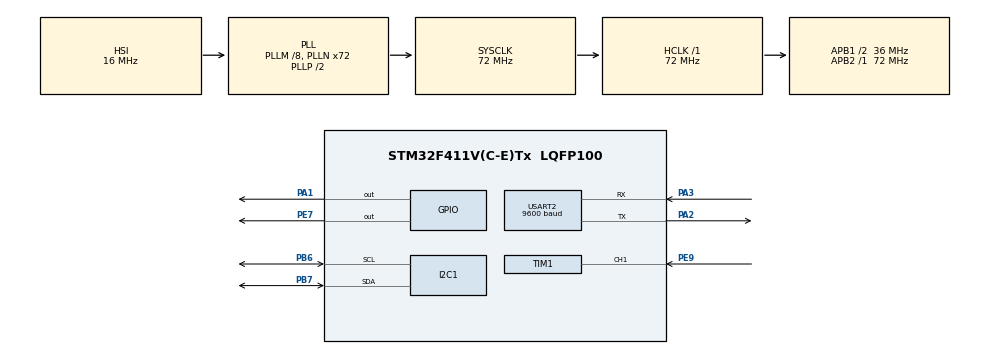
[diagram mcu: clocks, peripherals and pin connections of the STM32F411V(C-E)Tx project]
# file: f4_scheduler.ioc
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Mcu.Family=STM32F4
Mcu.Name=STM32F411V(C-E)Tx
Mcu.Package=LQFP100
NVIC.PriorityGroup=NVIC_PRIORITYGROUP_4
NVIC.TIM1_CC_IRQn=true\:0\:0\:false\:false\:true\:true\:true
NVIC.TIM1_UP_TIM10_IRQn=true\:0\:0\:false\:false\:true\:true\:true
NVIC.TIM2_IRQn=true\:0\:0\:false\:false\:true\:false\:true
NVIC.TimeBase=TIM2_IRQn
NVIC.TimeBaseIP=TIM2
NVIC.USART2_IRQn=true\:0\:0\:false\:false\:true\:true\:true
PA1.PinState=GPIO_PIN_SET
PA1.Signal=GPIO_Output
PA13.Mode=Serial_Wire
PA13.Signal=SYS_JTMS-SWDIO
PA14.Mode=Serial_Wire
PA14.Signal=SYS_JTCK-SWCLK
PA2.Mode=Asynchronous
PA2.Signal=USART2_TX
PA3.Mode=Asynchronous
PA3.Signal=USART2_RX
PB6.Mode=I2C
PB6.Signal=I2C1_SCL
PB7.Mode=I2C
PB7.Signal=I2C1_SDA
PE7.Signal=GPIO_Output
PE9.Signal=S_TIM1_CH1
ProjectManager.HeapSize=0x200
ProjectManager.StackSize=0x400
ProjectManager.TargetToolchain=MDK-ARM V5
RCC.48MHZClocksFreq_Value=36000000
RCC.AHBFreq_Value=72000000
RCC.APB1CLKDivider=RCC_HCLK_DIV2
RCC.APB1Freq_Value=36000000
RCC.APB1TimFreq_Value=72000000
RCC.APB2Freq_Value=72000000
RCC.APB2TimFreq_Value=72000000
RCC.CortexFreq_Value=72000000
RCC.HCLKFreq_Value=72000000
RCC.HSE_VALUE=25000000
RCC.HSI_VALUE=16000000
RCC.LSE_VALUE=32768
RCC.PLLM=8
RCC.PLLN=72
RCC.SYSCLKFreq_VALUE=72000000
RCC.SYSCLKSource=RCC_SYSCLKSOURCE_PLLCLK
RCC.VCOOutputFreq_Value=144000000
SH.S_TIM1_CH1.0=TIM1_CH1,Input_Capture1_from_TI1
TIM1.Channel-Input_Capture1_from_TI1=TIM_CHANNEL_1
TIM1.Period=0xffff-1
TIM1.Prescaler=72-1
USART2.BaudRate=9600
USART2.VirtualMode=VM_ASYNC
VP_SYS_VS_tim2.Mode=TIM2
board=custom

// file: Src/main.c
/* USER CODE BEGIN Header */
/**
  ******************************************************************************
  * @file           : main.c
  * @brief          : Main program body
  ******************************************************************************
  * @attention
  *
  * <h2><center>&copy; Copyright (c) 2022 STMicroelectronics.
  * All rights reserved.</center></h2>
  *
  * This software component is licensed by ST under Ultimate Liberty license
  * SLA0044, the "License"; You may not use this file except in compliance with
  * the License. You may obtain a copy of the License at:
  *                             www.st.com/SLA0044
  *
  ******************************************************************************
  */
/* USER CODE END Header */

#include "main.h"

/* USER CODE BEGIN Includes */
#include "i2c-lcd.h"
#include "stdio.h"
#include <stdarg.h>
#include <string.h>
/* USER CODE END Includes */

I2C_HandleTypeDef hi2c1;

TIM_HandleTypeDef htim1;

UART_HandleTypeDef huart2;

void SystemClock_Config(void);
static void MX_GPIO_Init(void);
static void MX_I2C1_Init(void);
static void MX_TIM1_Init(void);
static void MX_USART2_UART_Init(void);
/* USER CODE BEGIN PFP */
uint8_t data_uart; // bien de luu data nhan duoc
uint8_t flag_uart=0; //khi co data den thi set len 1
/* USER CODE END PFP */

/* USER CODE BEGIN 0 */

// callback UART receive 1 byte function
//void HAL_UART_TxCpltCallback(UART_HandleTypeDef *huart)
//{
//	if(huart->Instance == huart2.Instance) // check xem co dung uart2 hay khong
//	{
//		flag_uart = 1;
//		HAL_UART_Receive_IT(&huart2,&data_uart,1); // cho phep nhan data nhieu lan
//	}
//}

// ham printf
//_ARMABI int fputc(int c, FILE * stream)
//	{
//		HAL_UART_Transmit(&huart2, (uint8_t *)&c, 1, 100);
//		return 0;
//	}

//int __io_putchar(int ch)
//{
//	HAL_UART_Transmit(&huart2, (uint8_t *)&ch, 1, 0x10);
//	return ch;
//}

#ifdef __GNUC__
	#define PUTCHAR_PROTOTYPE int __io_putchar(int ch)
#else
	#define PUTCHAR_PROTOTYPE int fputc(int ch, FILE *f)
#endif /* __GNUC__ */
PUTCHAR_PROTOTYPE
	{
		HAL_UART_Transmit(&huart2, (uint8_t *)&ch, 1, HAL_MAX_DELAY);
		return ch;
	}

//void vprint(const char *fmt, va_list argp)
//{
//    char string[200];
//    if(0 < vsprintf(string,fmt,argp)) // build string
//    {
//        HAL_UART_Transmit(&huart2, (uint8_t*)string, strlen(string), 0xffffff); // send message via UART
//    }
//}

//void my_printf(const char *fmt, ...) // custom printf() function
//{
//    va_list argp;
//    va_start(argp, fmt);
//    vprint(fmt, argp);
//    va_end(argp);
//}

// delay function in microseconds
void delay (uint16_t time)
{
	__HAL_TIM_SET_COUNTER(&htim1, 0);
	while (__HAL_TIM_GET_COUNTER (&htim1) < time);
}

//function to set the pins as outputs
void Set_Pin_Output(GPIO_TypeDef *GPIOx, uint16_t GPIO_Pin)
{
	GPIO_InitTypeDef GPIO_InitStruct = {0};
	GPIO_InitStruct.Pin = GPIO_Pin;
	GPIO_InitStruct.Mode = GPIO_MODE_OUTPUT_PP;
	GPIO_InitStruct.Speed = GPIO_SPEED_FREQ_LOW;
	HAL_GPIO_Init(GPIOx, &GPIO_InitStruct);
}

//function to set pin as input
void Set_Pin_Input(GPIO_TypeDef *GPIOx, uint16_t GPIO_Pin)
{
	GPIO_InitTypeDef GPIO_InitStruct = {0};
	GPIO_InitStruct.Pin = GPIO_Pin;
	GPIO_InitStruct.Mode = GPIO_MODE_INPUT;
	GPIO_InitStruct.Pull = GPIO_NOPULL; //can be changed to PULLUP if no data is received from the pin
	HAL_GPIO_Init(GPIOx, &GPIO_InitStruct);
}

/*****HCSR04 FUNCTIONS*****/
//HCSR04 variables declarations
uint32_t IC_Val1 = 0;
uint32_t IC_Val2 = 0;
uint32_t Difference = 0;
uint8_t Is_First_Captured = 0;  // is the first value captured ?
uint8_t Distance  = 0;
float distance=0;
//define the pin and the port for sensor
#define TRIG_PIN GPIO_PIN_7
#define TRIG_PORT GPIOE

// Let's write the callback function
void HAL_TIM_IC_CaptureCallback(TIM_HandleTypeDef *htim)
{
	if (htim->Channel == HAL_TIM_ACTIVE_CHANNEL_1)  // if the interrupt source is channel1
	{
		if (Is_First_Captured==0) // if the first value is not captured
		{
			IC_Val1 = HAL_TIM_ReadCapturedValue(htim, TIM_CHANNEL_1); // read the first value
			Is_First_Captured = 1;  // set the first captured as true
			// Now change the polarity to falling edge
			__HAL_TIM_SET_CAPTUREPOLARITY(htim, TIM_CHANNEL_1, TIM_INPUTCHANNELPOLARITY_FALLING);
		}

		else if (Is_First_Captured==1)   // if the first is already captured
		{
			IC_Val2 = HAL_TIM_ReadCapturedValue(htim, TIM_CHANNEL_1);  // read second value
			__HAL_TIM_SET_COUNTER(htim, 0);  // reset the counter

			if (IC_Val2 > IC_Val1)
			{
				Difference = IC_Val2-IC_Val1;
			}

			else if (IC_Val1 > IC_Val2)
			{
				Difference = (0xffff - IC_Val1) + IC_Val2;
			}

			Distance = Difference * .034/2;
			Is_First_Captured = 0; // set it back to false

			// set polarity to rising edge
			__HAL_TIM_SET_CAPTUREPOLARITY(htim, TIM_CHANNEL_1, TIM_INPUTCHANNELPOLARITY_RISING);
			__HAL_TIM_DISABLE_IT(&htim1, TIM_IT_CC1);
		}
	}
}

// function to read data from hcsr04 signal pin
void HCSR04_Read (void)
{
	HAL_GPIO_WritePin(TRIG_PORT, TRIG_PIN, GPIO_PIN_SET);  // pull the TRIG pin HIGH
	delay(10);  // wait for 10 us
	HAL_GPIO_WritePin(TRIG_PORT, TRIG_PIN, GPIO_PIN_RESET);  // pull the TRIG pin low

	__HAL_TIM_ENABLE_IT(&htim1, TIM_IT_CC1);
}

// function to display data from hcsr04
void Display_Dist (void)
{
	//void HCSR04_Read (void);

	lcd_put_cur(1,0);
	lcd_send_string ("Dist= ");
//HCSR04_Read();
	  lcd_send_data((Distance/100) + 48);   // 100th pos
	  lcd_send_data(((Distance/10)%10) +48);  // 10th pos
	  lcd_send_data((Distance%10)+48);  // 1st pos
	  lcd_send_string(" cm");
	  HAL_Delay(200);
}

/*****DHT11 FUNCTIONS*****/
//variables declarations
uint8_t Rh_byte1, Rh_byte2, Temp_byte1, Temp_byte2;
uint16_t SUM, RH, TEMP;
float Temperature = 0;
float Humidity = 0;
uint8_t Presence = 0;

//Define the pin and the port for DHT11 Sensor
#define DHT11_PORT GPIOA
#define DHT11_PIN GPIO_PIN_1

//Function to display temperature
void Display_Temp (float Temp)
{
	char str[20] = {0};
	lcd_put_cur(0,0);

	sprintf (str, "TEMP:- %.2f", Temp);
	lcd_send_string(str);
	lcd_send_data('c');
}

//function to display RH
void Display_Rh (float Rh)
{
	char str[20] = {0};
	lcd_put_cur(1,0);

	sprintf (str, "Rh:- %.2f", Rh);
	lcd_send_string(str);
	lcd_send_data('%');
}

//Function to send the start signal
void DHT11_Start (void)
{
	Set_Pin_Output (DHT11_PORT, DHT11_PIN); //set the dht pin as output
	/***********************************************/
	HAL_GPIO_WritePin(DHT11_PORT, DHT11_PIN, GPIO_PIN_SET); //initialize with data pin high
	HAL_Delay(1000); //wait for 1000 milliseconds
	/***********************************************/

	HAL_GPIO_WritePin (DHT11_PORT, DHT11_PIN, GPIO_PIN_RESET); //pull the pin low
	delay(18000); //wait 18 milliseconds
	HAL_GPIO_WritePin (DHT11_PORT, DHT11_PIN, GPIO_PIN_SET); //pull the pin high
	delay(20); //wait for 20 microseconds
	Set_Pin_Input(DHT11_PORT, DHT11_PIN); //set the pin as input
}

//dh11 function to check response
uint8_t DHT11_Check_Response (void)
{
	uint8_t Response = 0;
	delay(40); //first wait for 40 microseconds
	if (!(HAL_GPIO_ReadPin (DHT11_PORT, DHT11_PIN))) //check for pin to be low
	{
		delay(80); //wait for 80 microseconds
		if((HAL_GPIO_ReadPin (DHT11_PORT, DHT11_PIN))) Response = 1; //check if pin is high and return 1 to show sensor is present
		else Response = 0; //255
	}
	while ((HAL_GPIO_ReadPin (DHT11_PORT, DHT11_PIN))); //wait for the pin to go low again

	return Response;
}

//function to read data from dht11 signal pin
uint8_t DHT11_Read (void)
{
	uint8_t i, j;
	for (j=0;j<8;j++)
	{
		while(!(HAL_GPIO_ReadPin (DHT11_PORT, DHT11_PIN))); //wait for the pin to change to high
		delay(40); //wait for 40 microseconds
		if (!(HAL_GPIO_ReadPin (DHT11_PORT, DHT11_PIN))) //if the pin is low
		{
			i&= ~(1<<(7-j)); //write 0
		}
		else i|= (1<<(7-j)); //if the pin is high write 1
		while ((HAL_GPIO_ReadPin (DHT11_PORT, DHT11_PIN))); //wait for the pin to go low
	}

	return i;
}

// function to update data each 1200ms
void DHT_Update(void)
{
	void DHT11_Start (void);
	uint8_t DHT11_Check_Response (void);
	uint8_t DHT11_Read (void);

		DHT11_Start();
		Presence = DHT11_Check_Response(); //record the response from the sensor

		//Five bytes of data
		Rh_byte1 = DHT11_Read ();
		Rh_byte2 = DHT11_Read ();
		Temp_byte1 = DHT11_Read ();
		Temp_byte2 = DHT11_Read ();
		SUM = DHT11_Read ();

		TEMP = Temp_byte1;
		RH = Rh_byte1;

		Temperature = (float) TEMP;
		Humidity = (float) RH;

}

/*****FreeRTOS*****/
void do_task1 (void)
	{
		void DHT_Update(void);
//		uint8_t data_1[] = "task1 reading the DHT11 sensor...\n";
//		HAL_UART_Transmit(&huart2, data_1, sizeof(data_1), HAL_MAX_DELAY);
		printf("Task 1 start: @%lu \n", HAL_GetTick());
		DHT_Update();
		printf("-TEMP: %f \n", Temperature);
		printf("Task 1 stop: @%lu \n", HAL_GetTick());
	}
	void do_task2 (void)
	{
		void HCSR04_Read (void);
//		uint8_t data_2[] = "task2 reading the HCSR04 sensor...\n";
//		HAL_UART_Transmit(&huart2, data_2, sizeof(data_2), HAL_MAX_DELAY);
		printf("Task 2 start: @%lu \n", HAL_GetTick());
		HCSR04_Read();
		printf("-DIST = %f \n",Distance);
		printf("Task 2 stop: @%lu \n", HAL_GetTick());
	}
	void do_task3 (void)
	{
		void Display_Dist (void);
		void Display_Temp (float Temp);
//		uint8_t data_3[] = "task3 displaying the temperature and distance measured on LCD...\n";
//		HAL_UART_Transmit(&huart2, data_3, sizeof(data_3), HAL_MAX_DELAY);
		printf("Task 3 start: @%lu\n", HAL_GetTick());
		Display_Temp(Temperature);
		Display_Dist();
		printf("Task 3 stop: @%lu\n", HAL_GetTick());
	}
/* USER CODE END 0 */

int main(void)
{

  /* MCU Configuration--------------------------------------------------------*/

  /* Reset of all peripherals, Initializes the Flash interface and the Systick. */
  HAL_Init();

  /* Configure the system clock */
  SystemClock_Config();

  /* Initialize all configured peripherals */
  MX_GPIO_Init();
  MX_I2C1_Init();
  MX_TIM1_Init();
  MX_USART2_UART_Init();
  /* USER CODE BEGIN 2 */

	HAL_UART_Receive_IT(&huart2,&data_uart,1);
	HAL_TIM_Base_Start(&htim1);
  HAL_TIM_IC_Start_IT(&htim1, TIM_CHANNEL_1);
  lcd_init();
	lcd_send_string("INITIALIZING.."); //display string on lcd
	HAL_Delay(2000); //wait for 2 seconds
	lcd_clear(); //clear lcd display

  /* USER CODE END 2 */

  /* Infinite loop */
  while (1)
  {

    /* USER CODE BEGIN 3 */
		if (((HAL_GetTick())%12000) == 0)
		{
			do_task1();
		}
		if (((HAL_GetTick())%2400) == 1200)
		{
			do_task2();
		}
		if (((HAL_GetTick())%3000) == 2700)
		{
			do_task3();
		}
//    do_task1();
//		do_task2();
//		do_task3();
//		HAL_Delay(1000);
  }
  /* USER CODE END 3 */
}

void SystemClock_Config(void)
{
  RCC_OscInitTypeDef RCC_OscInitStruct = {0};
  RCC_ClkInitTypeDef RCC_ClkInitStruct = {0};

  /** Configure the main internal regulator output voltage
  */
  __HAL_RCC_PWR_CLK_ENABLE();
  __HAL_PWR_VOLTAGESCALING_CONFIG(PWR_REGULATOR_VOLTAGE_SCALE1);
  /** Initializes the CPU, AHB and APB busses clocks
  */
  RCC_OscInitStruct.OscillatorType = RCC_OSCILLATORTYPE_HSI;
  RCC_OscInitStruct.HSIState = RCC_HSI_ON;
  RCC_OscInitStruct.HSICalibrationValue = RCC_HSICALIBRATION_DEFAULT;
  RCC_OscInitStruct.PLL.PLLState = RCC_PLL_ON;
  RCC_OscInitStruct.PLL.PLLSource = RCC_PLLSOURCE_HSI;
  RCC_OscInitStruct.PLL.PLLM = 8;
  RCC_OscInitStruct.PLL.PLLN = 72;
  RCC_OscInitStruct.PLL.PLLP = RCC_PLLP_DIV2;
  RCC_OscInitStruct.PLL.PLLQ = 4;
  if (HAL_RCC_OscConfig(&RCC_OscInitStruct) != HAL_OK)
  {
    Error_Handler();
  }
  /** Initializes the CPU, AHB and APB busses clocks
  */
  RCC_ClkInitStruct.ClockType = RCC_CLOCKTYPE_HCLK|RCC_CLOCKTYPE_SYSCLK
                              |RCC_CLOCKTYPE_PCLK1|RCC_CLOCKTYPE_PCLK2;
  RCC_ClkInitStruct.SYSCLKSource = RCC_SYSCLKSOURCE_PLLCLK;
  RCC_ClkInitStruct.AHBCLKDivider = RCC_SYSCLK_DIV1;
  RCC_ClkInitStruct.APB1CLKDivider = RCC_HCLK_DIV2;
  RCC_ClkInitStruct.APB2CLKDivider = RCC_HCLK_DIV1;

  if (HAL_RCC_ClockConfig(&RCC_ClkInitStruct, FLASH_LATENCY_2) != HAL_OK)
  {
    Error_Handler();
  }
}

static void MX_I2C1_Init(void)
{

  hi2c1.Instance = I2C1;
  hi2c1.Init.ClockSpeed = 100000;
  hi2c1.Init.DutyCycle = I2C_DUTYCYCLE_2;
  hi2c1.Init.OwnAddress1 = 0;
  hi2c1.Init.AddressingMode = I2C_ADDRESSINGMODE_7BIT;
  hi2c1.Init.DualAddressMode = I2C_DUALADDRESS_DISABLE;
  hi2c1.Init.OwnAddress2 = 0;
  hi2c1.Init.GeneralCallMode = I2C_GENERALCALL_DISABLE;
  hi2c1.Init.NoStretchMode = I2C_NOSTRETCH_DISABLE;
  if (HAL_I2C_Init(&hi2c1) != HAL_OK)
  {
    Error_Handler();
  }

}

static void MX_TIM1_Init(void)
{

  TIM_MasterConfigTypeDef sMasterConfig = {0};
  TIM_IC_InitTypeDef sConfigIC = {0};

  htim1.Instance = TIM1;
  htim1.Init.Prescaler = 72-1;
  htim1.Init.CounterMode = TIM_COUNTERMODE_UP;
  htim1.Init.Period = 0xffff-1;
  htim1.Init.ClockDivision = TIM_CLOCKDIVISION_DIV1;
  htim1.Init.RepetitionCounter = 0;
  htim1.Init.AutoReloadPreload = TIM_AUTORELOAD_PRELOAD_DISABLE;
  if (HAL_TIM_IC_Init(&htim1) != HAL_OK)
  {
    Error_Handler();
  }
  sMasterConfig.MasterOutputTrigger = TIM_TRGO_RESET;
  sMasterConfig.MasterSlaveMode = TIM_MASTERSLAVEMODE_DISABLE;
  if (HAL_TIMEx_MasterConfigSynchronization(&htim1, &sMasterConfig) != HAL_OK)
  {
    Error_Handler();
  }
  sConfigIC.ICPolarity = TIM_INPUTCHANNELPOLARITY_RISING;
  sConfigIC.ICSelection = TIM_ICSELECTION_DIRECTTI;
  sConfigIC.ICPrescaler = TIM_ICPSC_DIV1;
  sConfigIC.ICFilter = 0;
  if (HAL_TIM_IC_ConfigChannel(&htim1, &sConfigIC, TIM_CHANNEL_1) != HAL_OK)
  {
    Error_Handler();
  }

}

static void MX_USART2_UART_Init(void)
{

  huart2.Instance = USART2;
  huart2.Init.BaudRate = 9600;
  huart2.Init.WordLength = UART_WORDLENGTH_8B;
  huart2.Init.StopBits = UART_STOPBITS_1;
  huart2.Init.Parity = UART_PARITY_NONE;
  huart2.Init.Mode = UART_MODE_TX_RX;
  huart2.Init.HwFlowCtl = UART_HWCONTROL_NONE;
  huart2.Init.OverSampling = UART_OVERSAMPLING_16;
  if (HAL_UART_Init(&huart2) != HAL_OK)
  {
    Error_Handler();
  }

}

static void MX_GPIO_Init(void)
{
  GPIO_InitTypeDef GPIO_InitStruct = {0};

  /* GPIO Ports Clock Enable */
  __HAL_RCC_GPIOA_CLK_ENABLE();
  __HAL_RCC_GPIOE_CLK_ENABLE();
  __HAL_RCC_GPIOB_CLK_ENABLE();

  /*Configure GPIO pin Output Level */
  HAL_GPIO_WritePin(GPIOA, GPIO_PIN_1, GPIO_PIN_SET);

  /*Configure GPIO pin Output Level */
  HAL_GPIO_WritePin(GPIOE, GPIO_PIN_7, GPIO_PIN_RESET);

  /*Configure GPIO pin : PA1 */
  GPIO_InitStruct.Pin = GPIO_PIN_1;
  GPIO_InitStruct.Mode = GPIO_MODE_OUTPUT_PP;
  GPIO_InitStruct.Pull = GPIO_NOPULL;
  GPIO_InitStruct.Speed = GPIO_SPEED_FREQ_LOW;
  HAL_GPIO_Init(GPIOA, &GPIO_InitStruct);

  /*Configure GPIO pin : PE7 */
  GPIO_InitStruct.Pin = GPIO_PIN_7;
  GPIO_InitStruct.Mode = GPIO_MODE_OUTPUT_PP;
  GPIO_InitStruct.Pull = GPIO_NOPULL;
  GPIO_InitStruct.Speed = GPIO_SPEED_FREQ_LOW;
  HAL_GPIO_Init(GPIOE, &GPIO_InitStruct);

}

void HAL_TIM_PeriodElapsedCallback(TIM_HandleTypeDef *htim)
{
  if (htim->Instance == TIM2) {
    HAL_IncTick();
  }
}

void Error_Handler(void)
{
}

/************************ (C) COPYRIGHT STMicroelectronics *****END OF FILE****/
